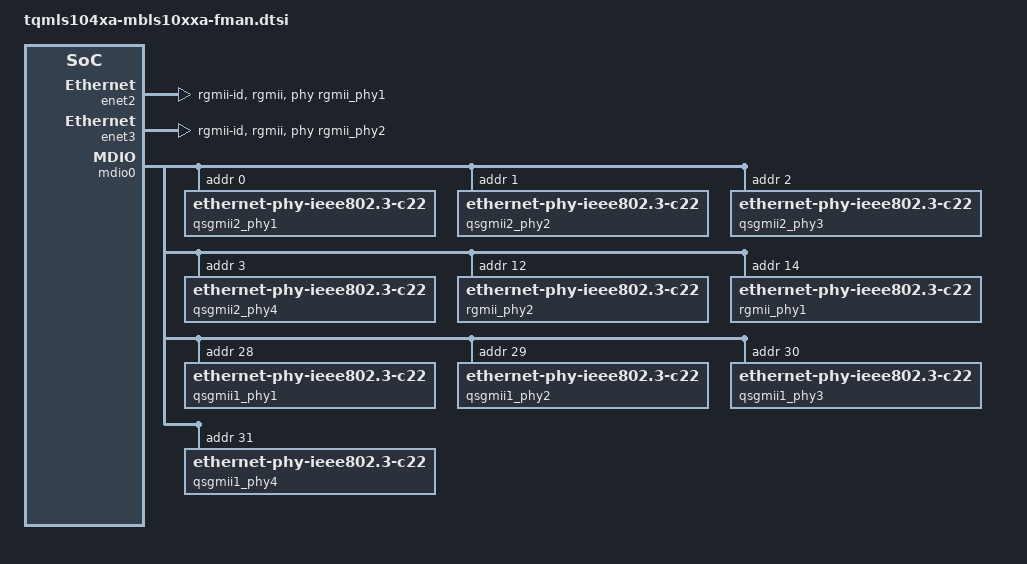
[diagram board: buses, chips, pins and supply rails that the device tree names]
// SPDX-License-Identifier: (GPL-2.0-or-later OR MIT)
/*
 * Copyright (c) 2019,2023 TQ-Systems GmbH <linux@ew.tq-group.com>,
 * D-82229 Seefeld, Germany.
 * Author: Gregor Herburger, Timo Herbrecher
 *
 * Device Tree Include file for MBLS10xxA from TQ (FMAN related sections)
 */

#include <dt-bindings/net/ti-dp83867.h>

&enet0 {
	status = "disabled";
};

&enet1 {
	status = "disabled";
};

&enet2 {
	phy-handle = <&rgmii_phy1>;
	phy-connection-type = "rgmii";
	phy-mode = "rgmii-id";
	status = "okay";
};

&enet3 {
	phy-handle = <&rgmii_phy2>;
	phy-connection-type = "rgmii";
	phy-mode = "rgmii-id";
	status = "okay";
};

&enet4 {
	status = "disabled";
};

&enet5 {
	status = "disabled";
};

&enet6 {
	status = "disabled";
};

&mdio0 {
	status = "okay";

	qsgmii2_phy1: ethernet-phy@0 {
		compatible = "ethernet-phy-ieee802.3-c22";
		reg = <0x00>;
	};

	qsgmii2_phy2: ethernet-phy@1 {
		compatible = "ethernet-phy-ieee802.3-c22";
		reg = <0x01>;
	};

	qsgmii2_phy3: ethernet-phy@2 {
		compatible = "ethernet-phy-ieee802.3-c22";
		reg = <0x02>;
	};

	qsgmii2_phy4: ethernet-phy@3 {
		compatible = "ethernet-phy-ieee802.3-c22";
		reg = <0x03>;
	};

	rgmii_phy2: ethernet-phy@c {
		compatible = "ethernet-phy-ieee802.3-c22";
		reg = <0x0c>;
		ti,rx-internal-delay = <DP83867_RGMIIDCTL_1_50_NS>;
		ti,tx-internal-delay = <DP83867_RGMIIDCTL_1_50_NS>;
		ti,fifo-depth = <DP83867_PHYCR_FIFO_DEPTH_8_B_NIB>;
	};

	rgmii_phy1: ethernet-phy@e {
		compatible = "ethernet-phy-ieee802.3-c22";
		reg = <0x0e>;
		ti,rx-internal-delay = <DP83867_RGMIIDCTL_1_50_NS>;
		ti,tx-internal-delay = <DP83867_RGMIIDCTL_1_50_NS>;
		ti,fifo-depth = <DP83867_PHYCR_FIFO_DEPTH_8_B_NIB>;
	};

	qsgmii1_phy1: ethernet-phy@1c {
		compatible = "ethernet-phy-ieee802.3-c22";
		reg = <0x1c>;
	};

	qsgmii1_phy2: ethernet-phy@1d {
		compatible = "ethernet-phy-ieee802.3-c22";
		reg = <0x1d>;
	};

	qsgmii1_phy3: ethernet-phy@1e {
		compatible = "ethernet-phy-ieee802.3-c22";
		reg = <0x1e>;
	};

	qsgmii1_phy4: ethernet-phy@1f {
		compatible = "ethernet-phy-ieee802.3-c22";
		reg = <0x1f>;
	};
};
